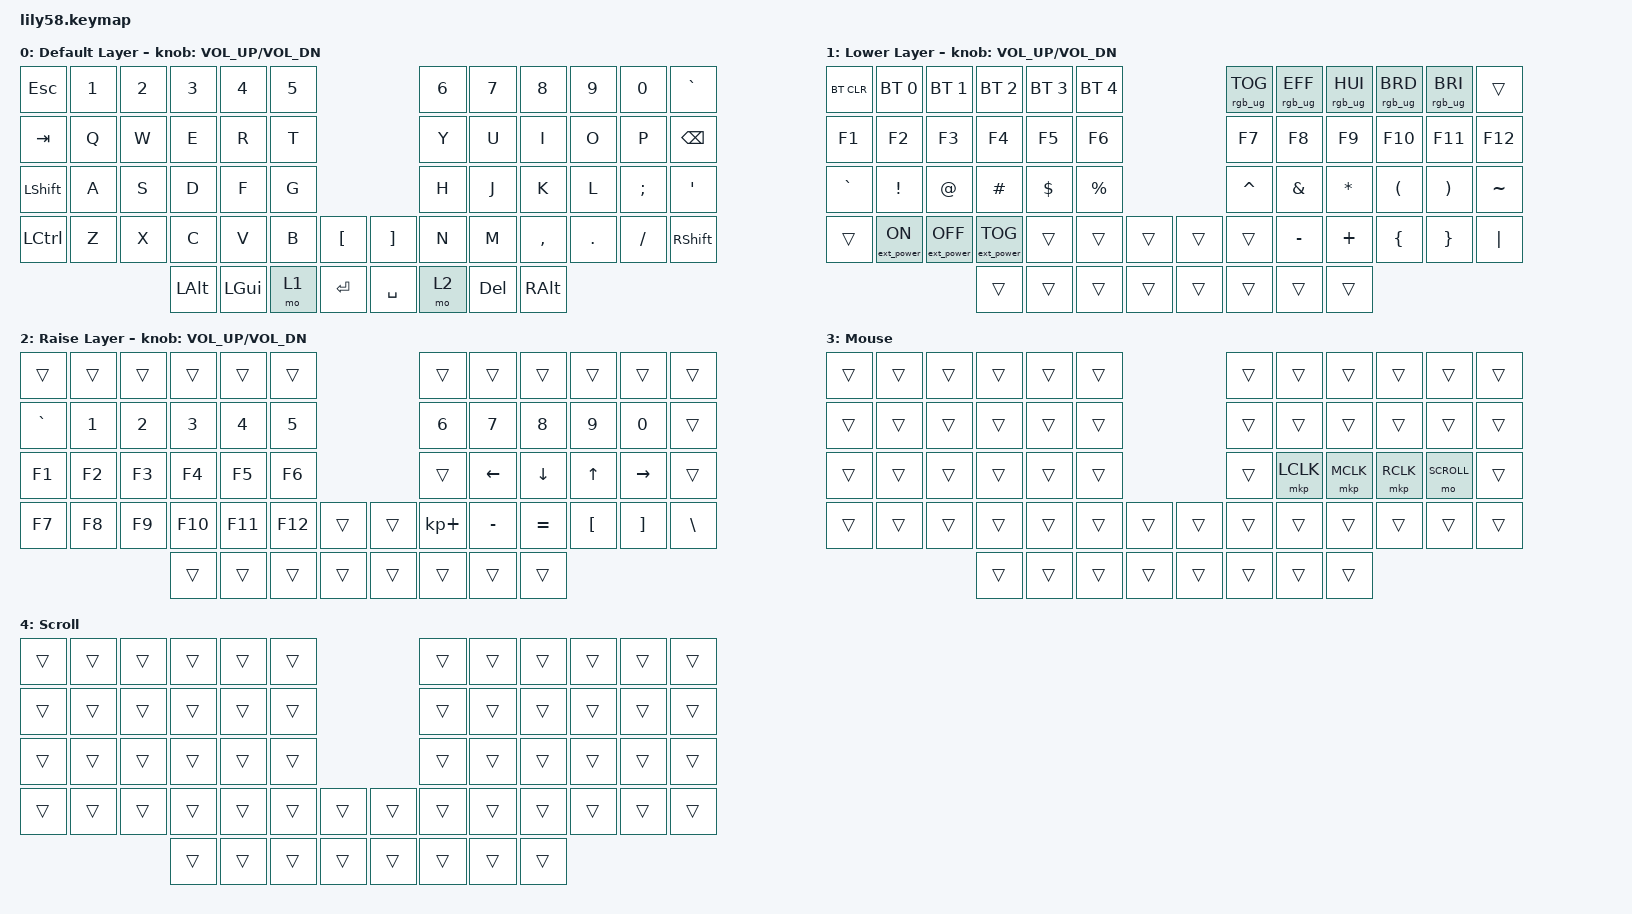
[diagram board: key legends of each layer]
/*
 * Copyright (c) 2020 The ZMK Contributors
 *
 * SPDX-License-Identifier: MIT
 */

#include <behaviors.dtsi>
#include <dt-bindings/zmk/keys.h>
#include <dt-bindings/zmk/bt.h>
#include <dt-bindings/zmk/ext_power.h>
#include <dt-bindings/zmk/pointing.h>
#include <input/processors.dtsi>
#include <dt-bindings/zmk/rgb.h>

#define MOUSE  3
#define SCROLL 4

&led_strip {
       chain-length = <35>;
   };

/* Trackball: auto-switch to the MOUSE layer while the ball moves,
   and turn ball movement into scrolling while SCROLL is held. */
&trackball_listener {
    input-processors = <&zip_temp_layer MOUSE 1000>;

    scroller {
        layers = <SCROLL>;
        input-processors = <&zip_xy_to_scroll_mapper>;
    };
};

/ {
    keymap {
        compatible = "zmk,keymap";

        default_layer {
            display-name = "Default Layer";
// ------------------------------------------------------------------------------------------------------------
// |  ESC  |  1  |  2  |  3   |  4   |  5   |                   |  6   |  7    |  8    |  9   |   0   |   `   |
// |  TAB  |  Q  |  W  |  E   |  R   |  T   |                   |  Y   |  U    |  I    |  O   |   P   |   -   |
// |  CTRL |  A  |  S  |  D   |  F   |  G   |                   |  H   |  J    |  K    |  L   |   ;   |   '   |
// | SHIFT |  Z  |  X  |  C   |  V   |  B   |   "["  |  |  "]"  |  N   |  M    |  ,    |  .   |   /   | SHIFT |
//                     | ALT  | GUI  | LOWER|  SPACE |  | ENTER | RAISE| BSPC  | GUI   |
            bindings = <
&kp ESC   &kp N1 &kp N2 &kp N3   &kp N4   &kp N5                     &kp N6 &kp N7   &kp N8    &kp N9  &kp N0   &kp GRAVE
&kp TAB   &kp Q  &kp W  &kp E    &kp R    &kp T                      &kp Y  &kp U    &kp I     &kp O   &kp P    &kp BSPC
&kp LSHFT &kp A  &kp S  &kp D    &kp F    &kp G                      &kp H  &kp J    &kp K     &kp L   &kp SEMI &kp SQT
&kp LCTRL &kp Z  &kp X  &kp C    &kp V    &kp B  &kp LBKT   &kp RBKT &kp N  &kp M    &kp COMMA &kp DOT &kp FSLH &kp RSHFT
                        &kp LALT &kp LGUI &mo 1  &kp RET  &kp SPACE  &mo 2  &kp DELETE &kp RIGHT_ALT
            >;

            sensor-bindings = <&inc_dec_kp C_VOL_UP C_VOL_DN>;
        };

        lower_layer {
            display-name = "Lower Layer";
// ------------------------------------------------------------------------------------------------------------
// | BTCLR | BT1 | BT2 |  BT3 |  BT4 |  BT5 |                   |      |       |       |      |       |       |
// |  F1   |  F2 |  F3 |  F4  |  F5  |  F6  |                   |  F7  |  F8   |  F9   |  F10 |  F11  |  F12  |
// |   `   |  !  |  @  |  #   |  $   |  %   |                   |  ^   |  &    |  *    |  (   |   )   |   ~   |
// |       |     |     |      |      |      |        |  |       |      |  _    |  +    |  {   |   }   |  "|"  |
//                     |      |      |      |        |  |       |      |       |       |
            bindings = <
&bt BT_CLR &bt BT_SEL 0     &bt BT_SEL 1      &bt BT_SEL 2      &bt BT_SEL 3 &bt BT_SEL 4                  &rgb_ug RGB_TOG &rgb_ug RGB_EFF &rgb_ug RGB_HUI &rgb_ug RGB_BRD &rgb_ug RGB_BRI &trans
&kp F1     &kp F2           &kp F3            &kp F4            &kp F5       &kp F6                       &kp F7    &kp F8    &kp F9    &kp F10   &kp F11   &kp F12
&kp GRAVE  &kp EXCL         &kp AT            &kp HASH          &kp DOLLAR   &kp PRCNT                    &kp CARET &kp AMPS  &kp ASTRK &kp LPAR  &kp RPAR  &kp TILDE
&trans     &ext_power EP_ON &ext_power EP_OFF &ext_power EP_TOG &trans       &trans    &trans   &trans    &trans    &kp MINUS &kp PLUS  &kp LBRC  &kp RBRC  &kp PIPE
                                              &trans            &trans       &trans    &trans   &trans    &trans    &trans    &trans
            >;

            sensor-bindings = <&inc_dec_kp C_VOL_UP C_VOL_DN>;
        };

        raise_layer {
            display-name = "Raise Layer";
// ------------------------------------------------------------------------------------------------------------
// |       |     |     |      |      |      |                   |      |       |       |      |       |       |
// |   `   |  1  |  2  |  3   |  4   |  5   |                   |  6   |   7   |   8   |  9   |   0   |       |
// |   F1  |  F2 |  F3 |  F4  |  F5  |  F6  |                   |      |   <-  |   v   |  ^   |  ->   |       |
// |   F7  |  F8 |  F9 |  F10 |  F11 |  F12 |        |  |       |  +   |   -   |   =   |  [   |   ]   |   \   |
//                     |      |      |      |        |  |       |      |       |       |
            bindings = <
&trans    &trans &trans &trans  &trans  &trans                       &trans      &trans    &trans    &trans   &trans    &trans
&kp GRAVE &kp N1 &kp N2 &kp N3  &kp N4  &kp N5                       &kp N6      &kp N7    &kp N8    &kp N9   &kp N0    &trans
&kp F1    &kp F2 &kp F3 &kp F4  &kp F5  &kp F6                       &trans      &kp LEFT  &kp DOWN  &kp UP   &kp RIGHT &trans
&kp F7    &kp F8 &kp F9 &kp F10 &kp F11 &kp F12   &trans   &trans    &kp KP_PLUS &kp MINUS &kp EQUAL &kp LBKT &kp RBKT  &kp BSLH
                        &trans  &trans  &trans    &trans   &trans    &trans      &trans    &trans
            >;

            sensor-bindings = <&inc_dec_kp C_VOL_UP C_VOL_DN>;
        };

        mouse_layer {
            display-name = "Mouse";
            bindings = <
&trans &trans &trans &trans &trans &trans                 &trans &trans    &trans    &trans    &trans    &trans
&trans &trans &trans &trans &trans &trans                 &trans &trans    &trans    &trans    &trans    &trans
&trans &trans &trans &trans &trans &trans                 &trans &mkp LCLK &mkp MCLK &mkp RCLK &mo SCROLL &trans
&trans &trans &trans &trans &trans &trans &trans   &trans &trans &trans    &trans    &trans    &trans    &trans
                     &trans &trans &trans &trans   &trans &trans &trans    &trans
            >;
        };

        scroll_layer {
            display-name = "Scroll";
            bindings = <
&trans &trans &trans &trans &trans &trans                 &trans &trans &trans &trans &trans &trans
&trans &trans &trans &trans &trans &trans                 &trans &trans &trans &trans &trans &trans
&trans &trans &trans &trans &trans &trans                 &trans &trans &trans &trans &trans &trans
&trans &trans &trans &trans &trans &trans &trans   &trans &trans &trans &trans &trans &trans &trans
                     &trans &trans &trans &trans   &trans &trans &trans &trans
            >;
        };
    };
};
